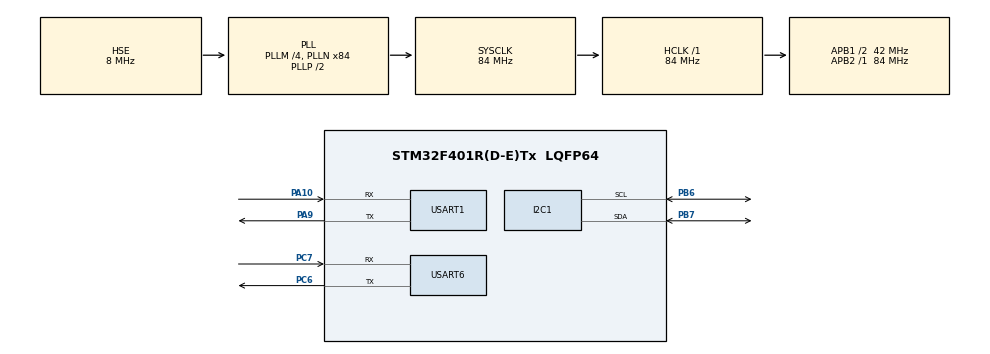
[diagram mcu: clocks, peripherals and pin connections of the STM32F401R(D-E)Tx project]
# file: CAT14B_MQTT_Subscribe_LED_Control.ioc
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Mcu.Family=STM32F4
Mcu.Name=STM32F401R(D-E)Tx
Mcu.Package=LQFP64
NVIC.PriorityGroup=NVIC_PRIORITYGROUP_4
NVIC.USART1_IRQn=true\:0\:0\:false\:false\:true\:true\:true\:true
PA10.Mode=Asynchronous
PA10.Signal=USART1_RX
PA13.Mode=Serial_Wire
PA13.Signal=SYS_JTMS-SWDIO
PA14.Mode=Serial_Wire
PA14.Signal=SYS_JTCK-SWCLK
PA9.Mode=Asynchronous
PA9.Signal=USART1_TX
PB6.Mode=I2C
PB6.Signal=I2C1_SCL
PB7.Mode=I2C
PB7.Signal=I2C1_SDA
PC6.Mode=Asynchronous
PC6.Signal=USART6_TX
PC7.Mode=Asynchronous
PC7.Signal=USART6_RX
PH0\ -\ OSC_IN.Mode=HSE-External-Clock-Source
PH0\ -\ OSC_IN.Signal=RCC_OSC_IN
PH1\ -\ OSC_OUT.Mode=HSE-External-Clock-Source
PH1\ -\ OSC_OUT.Signal=RCC_OSC_OUT
ProjectManager.HeapSize=0x200
ProjectManager.StackSize=0x400
ProjectManager.TargetToolchain=STM32CubeIDE
RCC.48MHZClocksFreq_Value=42000000
RCC.AHBFreq_Value=84000000
RCC.APB1CLKDivider=RCC_HCLK_DIV2
RCC.APB1Freq_Value=42000000
RCC.APB1TimFreq_Value=84000000
RCC.APB2Freq_Value=84000000
RCC.APB2TimFreq_Value=84000000
RCC.CortexFreq_Value=84000000
RCC.HCLKFreq_Value=84000000
RCC.HSE_VALUE=8000000
RCC.HSI_VALUE=16000000
RCC.LSE_VALUE=32768
RCC.PLLM=4
RCC.PLLN=84
RCC.PLLSourceVirtual=RCC_PLLSOURCE_HSE
RCC.SYSCLKFreq_VALUE=84000000
RCC.SYSCLKSource=RCC_SYSCLKSOURCE_PLLCLK
RCC.VCOOutputFreq_Value=168000000
USART1.VirtualMode=VM_ASYNC
USART6.VirtualMode=VM_ASYNC
board=custom

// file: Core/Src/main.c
/* USER CODE BEGIN Header */
/**
  ******************************************************************************
  * @file           : main.c
  * @brief          : CAT 14 - Subscribe example: control LD2 from any MQTT client / Node-RED
  *                    Topic vaishali/stm32/led, messages ON / OFF / TOGGLE.
  ******************************************************************************
  * @attention
  *
  * Copyright (c) 2026 STMicroelectronics.
  * All rights reserved.
  *
  * This software is licensed under terms that can be found in the LICENSE file
  * in the root directory of this software component.
  * If no LICENSE file comes with this software, it is provided AS-IS.
  *
  ******************************************************************************
  */
/* USER CODE END Header */
#include "main.h"

/* USER CODE BEGIN Includes */
#include "ESPLib.h"
#include "wifi_config.h"
#include <stdio.h>
#include <string.h>
/* USER CODE END Includes */

/* USER CODE BEGIN PD */
#define DBG_UART          (&huart6)          /* USART6 PC6/PC7 -> PuTTY 115200 */
#define MQTT_BROKER       "broker.emqx.io"   /* public test broker            */
#define MQTT_PORT         "1883"             /* plain (unencrypted) MQTT      */
#define CMD_TOPIC         "vaishali/stm32/led"
#define RETRY_MS          5000U              /* wait before reconnecting      */
#define CLIENT_ID         "stm32-vaishali-sub"
#define PING_PERIOD_MS    60000U             /* keep the connection alive */
#define LED_PORT          GPIOA              /* LD2 on PA5, active-high   */
#define LED_PIN           GPIO_PIN_5
/* USER CODE END PD */

I2C_HandleTypeDef hi2c1;
UART_HandleTypeDef huart1;
UART_HandleTypeDef huart6;

/* USER CODE BEGIN PV */
char mqttTopic[MQTT_TOPIC_MAX];    /* sizes required by MQTTDataHandler() */
char mqttData[MQTT_MSG_MAX];
static uint32_t last_ping = 0;
/* USER CODE END PV */

void SystemClock_Config(void);
static void MX_GPIO_Init(void);
static void MX_I2C1_Init(void);
static void MX_USART1_UART_Init(void);
static void MX_USART6_UART_Init(void);

/* USER CODE BEGIN 0 */
static void dbg(const char *s)
{
  HAL_UART_Transmit(DBG_UART, (uint8_t *)s, (uint16_t)strlen(s), 200);
}

/* Print the library's error counters whenever they change */
static void report_diagnostics(void)
{
  static uint32_t last_ovf = 0, last_drop = 0;
  uint32_t ovf = ESP8266_rxOverflows(), drop = MQTT_droppedMessages();
  if (ovf != last_ovf || drop != last_drop)
  {
    char line[80];
    snprintf(line, sizeof(line), "[diag] UART RX overflow bytes: %lu, dropped MQTT packets: %lu\r\n",
             (unsigned long)ovf, (unsigned long)drop);
    dbg(line);
    last_ovf = ovf;
    last_drop = drop;
  }
}

/* Wi-Fi + TCP + MQTT CONNECT. Every step is checked; returns 1 only when the
 * broker has answered CONNACK "accepted". Optional broker login: define
 * MQTT_USERNAME / MQTT_PASSWORD in wifi_secrets.h. */
static int mqtt_start(const char *client_id)
{
  MQTT_InitTypeDef_t cfg;

  dbg("ESP8266 init (station mode)...\r\n");
  if (ESP8266_Init(StationMode, huart1) != funcOk) { dbg("  ESP8266 not responding\r\n"); return 0; }
  dbg("Joining " WIFI_SSID "...\r\n");
  if (ESP8266_wifiConnect(WIFI_SSID, WIFI_PASSWORD) != funcOk) { dbg("  Wi-Fi join failed\r\n"); return 0; }
  dbg("TCP connect to " MQTT_BROKER ":" MQTT_PORT "...\r\n");
  if (ESP8266_portConnect("TCP", MQTT_BROKER, MQTT_PORT) != funcOk) { dbg("  TCP connect failed\r\n"); return 0; }

  memset(&cfg, 0, sizeof(cfg));
  cfg.keepAlive   = 120;                 /* seconds; PINGREQ / publishes keep it alive */
  cfg.connectFlag = CleanSession;        /* no stored session */
  cfg.clientID    = (char *)client_id;
#if defined(MQTT_USERNAME) && defined(MQTT_PASSWORD)
  cfg.username     = MQTT_USERNAME;
  cfg.password     = MQTT_PASSWORD;
  cfg.connectFlag |= UserNameFlag | PasswordFlag;
#endif
  if (MQTT_connectBroker(&cfg) != funcOk) { dbg("  broker refused / no CONNACK\r\n"); return 0; }
  dbg("MQTT connected (CONNACK accepted) as ");
  dbg(client_id);
  dbg("\r\n");
  return 1;
}

/* SUBSCRIBE and check the SUBACK (0x80 = refused by the broker) */
static int subscribe_commands(void)
{
  if (MQTT_subscribeTopic(CMD_TOPIC, QoS0) != funcOk) { dbg("  SUBSCRIBE refused / no SUBACK\r\n"); return 0; }
  dbg("Subscribed to " CMD_TOPIC " (SUBACK ok)\r\n");
  return 1;
}

static void led_init(void)
{
  GPIO_InitTypeDef g = { 0 };
  __HAL_RCC_GPIOA_CLK_ENABLE();
  g.Pin   = LED_PIN;
  g.Mode  = GPIO_MODE_OUTPUT_PP;
  g.Speed = GPIO_SPEED_FREQ_LOW;
  HAL_GPIO_Init(LED_PORT, &g);
  HAL_GPIO_WritePin(LED_PORT, LED_PIN, GPIO_PIN_RESET);
}

static void handle_message(const char *topic, const char *msg)
{
  dbg("SUB ");
  dbg(topic);
  dbg(" : ");
  dbg(msg);
  dbg("\r\n");

  /* only these exact commands are accepted; anything else is ignored */
  if (strcmp(msg, "ON") == 0)          HAL_GPIO_WritePin(LED_PORT, LED_PIN, GPIO_PIN_SET);
  else if (strcmp(msg, "OFF") == 0)    HAL_GPIO_WritePin(LED_PORT, LED_PIN, GPIO_PIN_RESET);
  else if (strcmp(msg, "TOGGLE") == 0) HAL_GPIO_TogglePin(LED_PORT, LED_PIN);
}
/* USER CODE END 0 */

int main(void)
{

  /* MCU Configuration--------------------------------------------------------*/

  /* Reset of all peripherals, Initializes the Flash interface and the Systick. */
  HAL_Init();

  /* Configure the system clock */
  SystemClock_Config();

  /* Initialize all configured peripherals */
  MX_GPIO_Init();
  MX_I2C1_Init();
  MX_USART1_UART_Init();
  MX_USART6_UART_Init();
  /* USER CODE BEGIN 2 */
  led_init();
  dbg("\r\nCAT14B - MQTT subscribe: publish ON / OFF / TOGGLE to " CMD_TOPIC "\r\n");
  while (!(mqtt_start(CLIENT_ID) && subscribe_commands()))
    HAL_Delay(RETRY_MS);
  last_ping = HAL_GetTick();
  /* USER CODE END 2 */

  /* Infinite loop */
  while (1)
  {

    /* USER CODE BEGIN 3 */
    report_diagnostics();
    if (MQTTDataHandler(mqttTopic, mqttData))        /* 1 = a complete, validated PUBLISH arrived */
      handle_message(mqttTopic, mqttData);

    if (!MQTT_isConnected())
    {
      dbg("Connection lost - reconnecting\r\n");
      while (!(mqtt_start(CLIENT_ID) && subscribe_commands()))
        HAL_Delay(RETRY_MS);
      last_ping = HAL_GetTick();
    }

    if ((HAL_GetTick() - last_ping) >= PING_PERIOD_MS)
    {
      last_ping = HAL_GetTick();
      if (MQTT_pingReq() != funcOk)
        dbg("No PINGRESP from broker - will reconnect\r\n");
    }
  }
  /* USER CODE END 3 */
}

void SystemClock_Config(void)
{
  RCC_OscInitTypeDef RCC_OscInitStruct = {0};
  RCC_ClkInitTypeDef RCC_ClkInitStruct = {0};

  /** Configure the main internal regulator output voltage
  */
  __HAL_RCC_PWR_CLK_ENABLE();
  __HAL_PWR_VOLTAGESCALING_CONFIG(PWR_REGULATOR_VOLTAGE_SCALE2);

  /** Initializes the RCC Oscillators according to the specified parameters
  * in the RCC_OscInitTypeDef structure.
  */
  RCC_OscInitStruct.OscillatorType = RCC_OSCILLATORTYPE_HSE;
  RCC_OscInitStruct.HSEState = RCC_HSE_BYPASS;
  RCC_OscInitStruct.PLL.PLLState = RCC_PLL_ON;
  RCC_OscInitStruct.PLL.PLLSource = RCC_PLLSOURCE_HSE;
  RCC_OscInitStruct.PLL.PLLM = 4;
  RCC_OscInitStruct.PLL.PLLN = 84;
  RCC_OscInitStruct.PLL.PLLP = RCC_PLLP_DIV2;
  RCC_OscInitStruct.PLL.PLLQ = 4;
  if (HAL_RCC_OscConfig(&RCC_OscInitStruct) != HAL_OK)
  {
    Error_Handler();
  }

  /** Initializes the CPU, AHB and APB buses clocks
  */
  RCC_ClkInitStruct.ClockType = RCC_CLOCKTYPE_HCLK|RCC_CLOCKTYPE_SYSCLK
                              |RCC_CLOCKTYPE_PCLK1|RCC_CLOCKTYPE_PCLK2;
  RCC_ClkInitStruct.SYSCLKSource = RCC_SYSCLKSOURCE_PLLCLK;
  RCC_ClkInitStruct.AHBCLKDivider = RCC_SYSCLK_DIV1;
  RCC_ClkInitStruct.APB1CLKDivider = RCC_HCLK_DIV2;
  RCC_ClkInitStruct.APB2CLKDivider = RCC_HCLK_DIV1;

  if (HAL_RCC_ClockConfig(&RCC_ClkInitStruct, FLASH_LATENCY_2) != HAL_OK)
  {
    Error_Handler();
  }
}

static void MX_I2C1_Init(void)
{

  hi2c1.Instance = I2C1;
  hi2c1.Init.ClockSpeed = 100000;
  hi2c1.Init.DutyCycle = I2C_DUTYCYCLE_2;
  hi2c1.Init.OwnAddress1 = 0;
  hi2c1.Init.AddressingMode = I2C_ADDRESSINGMODE_7BIT;
  hi2c1.Init.DualAddressMode = I2C_DUALADDRESS_DISABLE;
  hi2c1.Init.OwnAddress2 = 0;
  hi2c1.Init.GeneralCallMode = I2C_GENERALCALL_DISABLE;
  hi2c1.Init.NoStretchMode = I2C_NOSTRETCH_DISABLE;
  if (HAL_I2C_Init(&hi2c1) != HAL_OK)
  {
    Error_Handler();
  }

}

static void MX_USART1_UART_Init(void)
{

  huart1.Instance = USART1;
  huart1.Init.BaudRate = 115200;
  huart1.Init.WordLength = UART_WORDLENGTH_8B;
  huart1.Init.StopBits = UART_STOPBITS_1;
  huart1.Init.Parity = UART_PARITY_NONE;
  huart1.Init.Mode = UART_MODE_TX_RX;
  huart1.Init.HwFlowCtl = UART_HWCONTROL_NONE;
  huart1.Init.OverSampling = UART_OVERSAMPLING_16;
  if (HAL_UART_Init(&huart1) != HAL_OK)
  {
    Error_Handler();
  }

}

static void MX_USART6_UART_Init(void)
{

  huart6.Instance = USART6;
  huart6.Init.BaudRate = 115200;
  huart6.Init.WordLength = UART_WORDLENGTH_8B;
  huart6.Init.StopBits = UART_STOPBITS_1;
  huart6.Init.Parity = UART_PARITY_NONE;
  huart6.Init.Mode = UART_MODE_TX_RX;
  huart6.Init.HwFlowCtl = UART_HWCONTROL_NONE;
  huart6.Init.OverSampling = UART_OVERSAMPLING_16;
  if (HAL_UART_Init(&huart6) != HAL_OK)
  {
    Error_Handler();
  }

}

static void MX_GPIO_Init(void)
{

  /* GPIO Ports Clock Enable */
  __HAL_RCC_GPIOH_CLK_ENABLE();
  __HAL_RCC_GPIOC_CLK_ENABLE();
  __HAL_RCC_GPIOA_CLK_ENABLE();
  __HAL_RCC_GPIOB_CLK_ENABLE();

}

void Error_Handler(void)
{
  __disable_irq();
  while (1)
  {
  }
}
